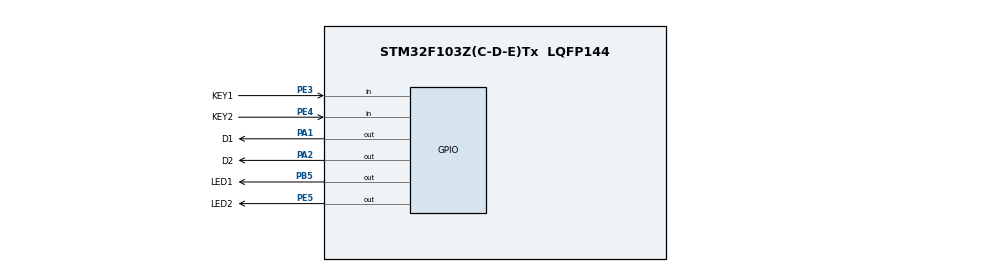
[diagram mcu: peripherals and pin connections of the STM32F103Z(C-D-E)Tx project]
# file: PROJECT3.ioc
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Mcu.Family=STM32F1
Mcu.Name=STM32F103Z(C-D-E)Tx
Mcu.Package=LQFP144
NVIC.PriorityGroup=NVIC_PRIORITYGROUP_4
PA1.GPIO_Label=D1
PA1.Signal=GPIO_Output
PA2.GPIO_Label=D2
PA2.PinState=GPIO_PIN_SET
PA2.Signal=GPIO_Output
PB5.GPIO_Label=LED1
PB5.PinState=GPIO_PIN_SET
PB5.Signal=GPIO_Output
PE3.GPIO_Label=KEY1
PE3.Signal=GPIO_Input
PE4.GPIO_Label=KEY2
PE4.Signal=GPIO_Input
PE5.GPIO_Label=LED2
PE5.PinState=GPIO_PIN_SET
PE5.Signal=GPIO_Output
ProjectManager.HeapSize=0x200
ProjectManager.StackSize=0x400
ProjectManager.TargetToolchain=MDK-ARM V5.32
RCC.APB1Freq_Value=8000000
RCC.APB2Freq_Value=8000000
VP_SYS_VS_ND.Mode=No_Debug
board=custom

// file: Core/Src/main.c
/* USER CODE BEGIN Header */
/**
  ******************************************************************************
  * @file           : main.c
  * @brief          : Main program body
  ******************************************************************************
  * @attention
  *
  * Copyright (c) 2024 STMicroelectronics.
  * All rights reserved.
  *
  * This software is licensed under terms that can be found in the LICENSE file
  * in the root directory of this software component.
  * If no LICENSE file comes with this software, it is provided AS-IS.
  *
  ******************************************************************************
  */
/* USER CODE END Header */
#include "main.h"
#include "stm32f1xx.h"

void SystemClock_Config(void);
static void MX_GPIO_Init(void);

/* USER CODE BEGIN 0 */
uint8_t keyflag=0;
/* USER CODE END 0 */

int main(void)
{

  /* MCU Configuration--------------------------------------------------------*/

  /* Reset of all peripherals, Initializes the Flash interface and the Systick. */
  HAL_Init();

  /* Configure the system clock */
  SystemClock_Config();

  /* Initialize all configured peripherals */
  MX_GPIO_Init();

  /* Infinite loop */
  /* USER CODE BEGIN WHILE */
  while (1)
  {
		if(HAL_GPIO_ReadPin(KEY1_GPIO_Port,KEY1_Pin)==GPIO_PIN_RESET)
			{
				HAL_Delay(20);
				if(HAL_GPIO_ReadPin(KEY1_GPIO_Port,KEY1_Pin)==GPIO_PIN_RESET)
				{
					keyflag++;

				}
				while(HAL_GPIO_ReadPin(KEY1_GPIO_Port,KEY1_Pin)==GPIO_PIN_RESET);
				}
		else if(HAL_GPIO_ReadPin(KEY2_GPIO_Port,KEY2_Pin)==GPIO_PIN_RESET)
			{
				HAL_Delay(20);
				if(HAL_GPIO_ReadPin(KEY2_GPIO_Port,KEY2_Pin)==GPIO_PIN_RESET)
				{
					keyflag++;

				}
				while(HAL_GPIO_ReadPin(KEY2_GPIO_Port,KEY2_Pin)==GPIO_PIN_RESET);
			}

	 if(keyflag==1)
		{
			HAL_GPIO_WritePin(LED1_GPIO_Port,LED1_Pin,GPIO_PIN_RESET);
			HAL_GPIO_WritePin(LED2_GPIO_Port,LED2_Pin,GPIO_PIN_SET);
			HAL_Delay(200);
			HAL_GPIO_WritePin(LED1_GPIO_Port,LED1_Pin,GPIO_PIN_SET);
			HAL_GPIO_WritePin(LED2_GPIO_Port,LED2_Pin,GPIO_PIN_RESET);
			HAL_Delay(200);

		}
		if(keyflag==2)
		{
			HAL_GPIO_WritePin(LED1_GPIO_Port,LED1_Pin,GPIO_PIN_RESET);
			HAL_GPIO_WritePin(LED2_GPIO_Port,LED2_Pin,GPIO_PIN_SET);
			HAL_Delay(500);
			HAL_GPIO_WritePin(LED1_GPIO_Port,LED1_Pin,GPIO_PIN_SET);
			HAL_GPIO_WritePin(LED2_GPIO_Port,LED2_Pin,GPIO_PIN_RESET);
			HAL_Delay(500);

		}
		if(keyflag==3)
		{
			keyflag=1;
		}
    /* USER CODE END WHILE */

  }
}

void SystemClock_Config(void)
{
  RCC_OscInitTypeDef RCC_OscInitStruct = {0};
  RCC_ClkInitTypeDef RCC_ClkInitStruct = {0};

  /** Initializes the RCC Oscillators according to the specified parameters
  * in the RCC_OscInitTypeDef structure.
  */
  RCC_OscInitStruct.OscillatorType = RCC_OSCILLATORTYPE_HSI;
  RCC_OscInitStruct.HSIState = RCC_HSI_ON;
  RCC_OscInitStruct.HSICalibrationValue = RCC_HSICALIBRATION_DEFAULT;
  RCC_OscInitStruct.PLL.PLLState = RCC_PLL_NONE;
  if (HAL_RCC_OscConfig(&RCC_OscInitStruct) != HAL_OK)
  {
    Error_Handler();
  }

  /** Initializes the CPU, AHB and APB buses clocks
  */
  RCC_ClkInitStruct.ClockType = RCC_CLOCKTYPE_HCLK|RCC_CLOCKTYPE_SYSCLK
                              |RCC_CLOCKTYPE_PCLK1|RCC_CLOCKTYPE_PCLK2;
  RCC_ClkInitStruct.SYSCLKSource = RCC_SYSCLKSOURCE_HSI;
  RCC_ClkInitStruct.AHBCLKDivider = RCC_SYSCLK_DIV1;
  RCC_ClkInitStruct.APB1CLKDivider = RCC_HCLK_DIV1;
  RCC_ClkInitStruct.APB2CLKDivider = RCC_HCLK_DIV1;

  if (HAL_RCC_ClockConfig(&RCC_ClkInitStruct, FLASH_LATENCY_0) != HAL_OK)
  {
    Error_Handler();
  }
}

static void MX_GPIO_Init(void)
{
  GPIO_InitTypeDef GPIO_InitStruct = {0};

  /* GPIO Ports Clock Enable */
  __HAL_RCC_GPIOE_CLK_ENABLE();
  __HAL_RCC_GPIOA_CLK_ENABLE();
  __HAL_RCC_GPIOB_CLK_ENABLE();

  /*Configure GPIO pin Output Level */
  HAL_GPIO_WritePin(LED2_GPIO_Port, LED2_Pin, GPIO_PIN_SET);

  /*Configure GPIO pin Output Level */
  HAL_GPIO_WritePin(D1_GPIO_Port, D1_Pin, GPIO_PIN_RESET);

  /*Configure GPIO pin Output Level */
  HAL_GPIO_WritePin(D2_GPIO_Port, D2_Pin, GPIO_PIN_SET);

  /*Configure GPIO pin Output Level */
  HAL_GPIO_WritePin(LED1_GPIO_Port, LED1_Pin, GPIO_PIN_SET);

  /*Configure GPIO pins : KEY1_Pin KEY2_Pin */
  GPIO_InitStruct.Pin = KEY1_Pin|KEY2_Pin;
  GPIO_InitStruct.Mode = GPIO_MODE_INPUT;
  GPIO_InitStruct.Pull = GPIO_PULLUP;
  HAL_GPIO_Init(GPIOE, &GPIO_InitStruct);

  /*Configure GPIO pin : LED2_Pin */
  GPIO_InitStruct.Pin = LED2_Pin;
  GPIO_InitStruct.Mode = GPIO_MODE_OUTPUT_PP;
  GPIO_InitStruct.Pull = GPIO_NOPULL;
  GPIO_InitStruct.Speed = GPIO_SPEED_FREQ_LOW;
  HAL_GPIO_Init(LED2_GPIO_Port, &GPIO_InitStruct);

  /*Configure GPIO pins : D1_Pin D2_Pin */
  GPIO_InitStruct.Pin = D1_Pin|D2_Pin;
  GPIO_InitStruct.Mode = GPIO_MODE_OUTPUT_PP;
  GPIO_InitStruct.Pull = GPIO_NOPULL;
  GPIO_InitStruct.Speed = GPIO_SPEED_FREQ_LOW;
  HAL_GPIO_Init(GPIOA, &GPIO_InitStruct);

  /*Configure GPIO pin : LED1_Pin */
  GPIO_InitStruct.Pin = LED1_Pin;
  GPIO_InitStruct.Mode = GPIO_MODE_OUTPUT_PP;
  GPIO_InitStruct.Pull = GPIO_NOPULL;
  GPIO_InitStruct.Speed = GPIO_SPEED_FREQ_LOW;
  HAL_GPIO_Init(LED1_GPIO_Port, &GPIO_InitStruct);

}

void Error_Handler(void)
{
  __disable_irq();
  while (1)
  {
  }
}
